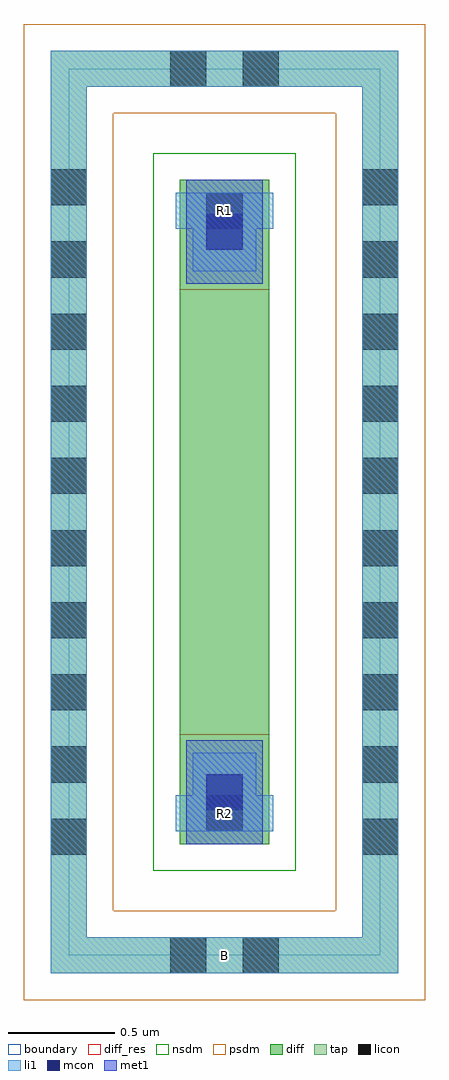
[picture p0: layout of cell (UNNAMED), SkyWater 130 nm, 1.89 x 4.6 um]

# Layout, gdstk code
import gdstk
lib = gdstk.Library(unit=1e-6, precision=1e-09)
def R(c, l, rs):  # rectangles x0, y0, x1, y1
    for r in rs: c.add(gdstk.rectangle(r[:2], r[2:], *l))
def A(c, l, x, y, w, h, nx, ny, dx, dy):  # array of equal rectangles
    R(c, l, [(x+i*dx, y+j*dy, x+i*dx+w, y+j*dy+h) for i in range(nx) for j in range(ny)])
diff_res = (65, 13)
diff = (65, 20)
tap = (65, 44)
licon = (66, 44)
li1 = (67, 20)
mcon = (67, 44)
met1 = (68, 20)
nsdm = (93, 44)
psdm = (94, 20)
boundary = (235, 4)

c__unnamed_ = lib.new_cell('(UNNAMED)')
R(c__unnamed_, diff_res, [(-0.21,-1.05,0.21,1.05)])
R(c__unnamed_, diff, [(-0.21,-1.565,0.21,1.565)])
R(c__unnamed_, tap, [(-0.82,-2.175,0.82,-2.005), (-0.82,-2.005,-0.65,2.005), (0.65,-2.005,0.82,2.005), (-0.82,2.005,0.82,2.175)])
A(c__unnamed_, licon, -0.82, -1.615, 0.17, 0.17, 1, 10, 0, 0.34)
A(c__unnamed_, licon, 0.65, -1.615, 0.17, 0.17, 1, 10, 0, 0.34)
R(c__unnamed_, licon, [(-0.255,-2.175,-0.085,-2.005), (0.085,-2.175,0.255,-2.005), (-0.085,-1.505,0.085,-1.335), (-0.085,1.335,0.085,1.505), (-0.255,2.005,-0.085,2.175), (0.085,2.005,0.255,2.175)])
R(c__unnamed_, li1, [(-0.82,-2.175,0.82,-2.005), (-0.82,-2.005,-0.65,2.005), (0.65,-2.005,0.82,2.005), (-0.23,-1.505,0.23,-1.335), (-0.15,-1.335,0.15,-1.135), (-0.15,1.135,0.15,1.335), (-0.23,1.335,0.23,1.505), (-0.82,2.005,0.82,2.175)])
R(c__unnamed_, mcon, [(-0.085,-1.405,0.085,-1.235), (-0.085,1.235,0.085,1.405)])
R(c__unnamed_, met1, [(-0.18,-1.565,0.18,-1.075), (-0.18,1.075,0.18,1.565)])
R(c__unnamed_, nsdm, [(-0.335,-1.69,0.335,1.69)])
R(c__unnamed_, psdm, [(-0.945,-2.3,0.945,-1.88), (-0.945,-1.88,-0.525,1.88), (0.525,-1.88,0.945,1.88), (-0.945,1.88,0.945,2.3)])
R(c__unnamed_, boundary, [(-0.735,-2.09,0.735,2.09)])
c__unnamed_.add(gdstk.Label('B', (0,-2.09), layer=67, texttype=5))
c__unnamed_.add(gdstk.Label('R1', (0,1.42), layer=67, texttype=5))
c__unnamed_.add(gdstk.Label('R2', (0,-1.42), layer=67, texttype=5))

lib.write_gds('_UNNAMED_.gds')
